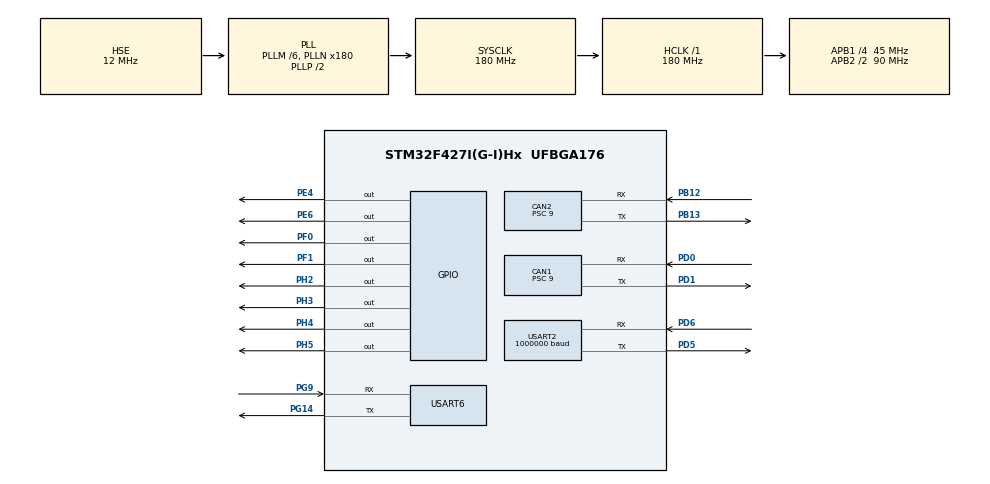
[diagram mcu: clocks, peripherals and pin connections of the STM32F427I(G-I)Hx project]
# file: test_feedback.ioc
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CAN1.ABOM=ENABLE
CAN1.BS1=CAN_BS1_2TQ
CAN1.BS2=CAN_BS2_2TQ
CAN1.CalculateBaudRate=1000000
CAN1.CalculateTimeBit=1000
CAN1.CalculateTimeQuantum=200.0
CAN1.Prescaler=9
CAN2.ABOM=ENABLE
CAN2.BS1=CAN_BS1_2TQ
CAN2.BS2=CAN_BS2_2TQ
CAN2.CalculateBaudRate=1000000
CAN2.CalculateTimeBit=1000
CAN2.CalculateTimeQuantum=200.0
CAN2.Prescaler=9
Dma.Request0=USART2_RX
Dma.Request1=USART2_TX
Dma.Request2=USART6_RX
Dma.Request3=USART6_TX
Dma.USART2_RX.0.Direction=DMA_PERIPH_TO_MEMORY
Dma.USART2_RX.0.FIFOMode=DMA_FIFOMODE_DISABLE
Dma.USART2_RX.0.Instance=DMA1_Stream5
Dma.USART2_RX.0.MemDataAlignment=DMA_MDATAALIGN_BYTE
Dma.USART2_RX.0.MemInc=DMA_MINC_ENABLE
Dma.USART2_RX.0.Mode=DMA_NORMAL
Dma.USART2_RX.0.PeriphDataAlignment=DMA_PDATAALIGN_BYTE
Dma.USART2_RX.0.PeriphInc=DMA_PINC_DISABLE
Dma.USART2_RX.0.Priority=DMA_PRIORITY_LOW
Dma.USART2_TX.1.Direction=DMA_MEMORY_TO_PERIPH
Dma.USART2_TX.1.FIFOMode=DMA_FIFOMODE_DISABLE
Dma.USART2_TX.1.Instance=DMA1_Stream6
Dma.USART2_TX.1.MemDataAlignment=DMA_MDATAALIGN_BYTE
Dma.USART2_TX.1.MemInc=DMA_MINC_ENABLE
Dma.USART2_TX.1.Mode=DMA_NORMAL
Dma.USART2_TX.1.PeriphDataAlignment=DMA_PDATAALIGN_BYTE
Dma.USART2_TX.1.PeriphInc=DMA_PINC_DISABLE
Dma.USART2_TX.1.Priority=DMA_PRIORITY_LOW
Dma.USART6_RX.2.Direction=DMA_PERIPH_TO_MEMORY
Dma.USART6_RX.2.FIFOMode=DMA_FIFOMODE_DISABLE
Dma.USART6_RX.2.Instance=DMA2_Stream1
Dma.USART6_RX.2.MemDataAlignment=DMA_MDATAALIGN_BYTE
Dma.USART6_RX.2.MemInc=DMA_MINC_ENABLE
Dma.USART6_RX.2.Mode=DMA_NORMAL
Dma.USART6_RX.2.PeriphDataAlignment=DMA_PDATAALIGN_BYTE
Dma.USART6_RX.2.PeriphInc=DMA_PINC_DISABLE
Dma.USART6_RX.2.Priority=DMA_PRIORITY_LOW
Dma.USART6_TX.3.Direction=DMA_MEMORY_TO_PERIPH
Dma.USART6_TX.3.FIFOMode=DMA_FIFOMODE_DISABLE
Dma.USART6_TX.3.Instance=DMA2_Stream6
Dma.USART6_TX.3.MemDataAlignment=DMA_MDATAALIGN_BYTE
Dma.USART6_TX.3.MemInc=DMA_MINC_ENABLE
Dma.USART6_TX.3.Mode=DMA_NORMAL
Dma.USART6_TX.3.PeriphDataAlignment=DMA_PDATAALIGN_BYTE
Dma.USART6_TX.3.PeriphInc=DMA_PINC_DISABLE
Dma.USART6_TX.3.Priority=DMA_PRIORITY_LOW
FREERTOS.BinarySemaphores01=uartSemaphore,Dynamic,NULL,Depleted
FREERTOS.Tasks01=ChassisTask,24,512,StartTaskChassis,Default,NULL,Dynamic,NULL,NULL;MAVLinkTask,24,512,StartTaskMAVLink,Default,NULL,Dynamic,NULL,NULL;ClimbingTask,24,512,StartTaskClimbing,Default,NULL,Dynamic,NULL,NULL;DrawKFSTask,24,512,StartTaskDrawKFS,Default,NULL,Dynamic,NULL,NULL;ClampingTask,24,128,StartTaskClamping,Default,NULL,Dynamic,NULL,NULL
Mcu.Family=STM32F4
Mcu.Name=STM32F427I(G-I)Hx
Mcu.Package=UFBGA176
NVIC.CAN1_RX0_IRQn=true\:5\:0\:false\:false\:true\:true\:true\:true\:true
NVIC.CAN1_RX1_IRQn=true\:5\:0\:false\:false\:true\:true\:true\:true\:true
NVIC.CAN2_RX0_IRQn=true\:5\:0\:false\:false\:true\:true\:true\:true\:true
NVIC.CAN2_RX1_IRQn=true\:5\:0\:false\:false\:true\:true\:true\:true\:true
NVIC.DMA1_Stream5_IRQn=true\:5\:0\:false\:false\:true\:true\:false\:true\:true
NVIC.DMA1_Stream6_IRQn=true\:5\:0\:false\:false\:true\:true\:false\:true\:true
NVIC.DMA2_Stream1_IRQn=true\:5\:0\:false\:false\:true\:true\:false\:true\:true
NVIC.DMA2_Stream6_IRQn=true\:5\:0\:false\:false\:true\:true\:false\:true\:true
NVIC.PriorityGroup=NVIC_PRIORITYGROUP_4
NVIC.TIM6_DAC_IRQn=true\:5\:0\:false\:false\:true\:true\:true\:true\:true
NVIC.TIM8_TRG_COM_TIM14_IRQn=true\:15\:0\:false\:false\:true\:false\:false\:true\:true
NVIC.TimeBase=TIM8_TRG_COM_TIM14_IRQn
NVIC.TimeBaseIP=TIM14
NVIC.USART2_IRQn=true\:5\:0\:false\:false\:true\:true\:true\:true\:true
NVIC.USART6_IRQn=true\:5\:0\:false\:false\:true\:true\:true\:true\:true
PA13.Mode=Serial_Wire
PA13.Signal=SYS_JTMS-SWDIO
PA14.Mode=Serial_Wire
PA14.Signal=SYS_JTCK-SWCLK
PB12.Mode=CAN_Activate
PB12.Signal=CAN2_RX
PB13.Mode=CAN_Activate
PB13.Signal=CAN2_TX
PD0.Mode=CAN_Activate
PD0.Signal=CAN1_RX
PD1.Mode=CAN_Activate
PD1.Signal=CAN1_TX
PD5.Mode=Asynchronous
PD5.Signal=USART2_TX
PD6.Mode=Asynchronous
PD6.Signal=USART2_RX
PE4.Signal=GPIO_Output
PE6.Signal=GPIO_Output
PF0.Signal=GPIO_Output
PF1.PinState=GPIO_PIN_SET
PF1.Signal=GPIO_Output
PG14.Mode=Asynchronous
PG14.Signal=USART6_TX
PG9.Mode=Asynchronous
PG9.Signal=USART6_RX
PH0/OSC_IN.Mode=HSE-External-Oscillator
PH0/OSC_IN.Signal=RCC_OSC_IN
PH1/OSC_OUT.Mode=HSE-External-Oscillator
PH1/OSC_OUT.Signal=RCC_OSC_OUT
PH2.GPIO_PuPd=GPIO_PULLDOWN
PH2.Signal=GPIO_Output
PH3.GPIO_PuPd=GPIO_PULLDOWN
PH3.Signal=GPIO_Output
PH4.GPIO_PuPd=GPIO_PULLDOWN
PH4.Signal=GPIO_Output
PH5.GPIO_PuPd=GPIO_PULLDOWN
PH5.Signal=GPIO_Output
ProjectManager.HeapSize=0x200
ProjectManager.StackSize=0x400
ProjectManager.TargetToolchain=CMake
RCC.48MHZClocksFreq_Value=90000000
RCC.AHBFreq_Value=180000000
RCC.APB1CLKDivider=RCC_HCLK_DIV4
RCC.APB1Freq_Value=45000000
RCC.APB1TimFreq_Value=90000000
RCC.APB2CLKDivider=RCC_HCLK_DIV2
RCC.APB2Freq_Value=90000000
RCC.APB2TimFreq_Value=180000000
RCC.CortexFreq_Value=180000000
RCC.HCLKFreq_Value=180000000
RCC.HSE_VALUE=12000000
RCC.HSI_VALUE=16000000
RCC.LSE_VALUE=32768
RCC.PLLM=6
RCC.PLLN=180
RCC.PLLSourceVirtual=RCC_PLLSOURCE_HSE
RCC.SYSCLKFreq_VALUE=180000000
RCC.SYSCLKSource=RCC_SYSCLKSOURCE_PLLCLK
RCC.VCOOutputFreq_Value=360000000
TIM6.Period=1000-1
TIM6.Prescaler=90-1
USART2.BaudRate=1000000
USART2.VirtualMode=VM_ASYNC
USART6.VirtualMode=VM_ASYNC
VP_FREERTOS_VS_CMSIS_V2.Mode=CMSIS_V2
VP_SYS_VS_tim14.Mode=TIM14
VP_TIM6_VS_ClockSourceINT.Mode=Enable_Timer
board=custom

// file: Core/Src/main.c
/* USER CODE BEGIN Header */
/**
 ******************************************************************************
 * @file           : main.c
 * @brief          : Main program body
 ******************************************************************************
 * @attention
 *
 * Copyright (c) 2023 STMicroelectronics.
 * All rights reserved.
 *
 * This software is licensed under terms that can be found in the LICENSE file
 * in the root directory of this software component.
 * If no LICENSE file comes with this software, it is provided AS-IS.
 *
 ******************************************************************************
 */
/* USER CODE END Header */
#include "main.h"
#include "cmsis_os.h"
#include "can.h"
#include "dma.h"
#include "tim.h"
#include "usart.h"
#include "gpio.h"

/* USER CODE BEGIN Includes */
/* If this file is compiled as C++, ensure C linkage for CubeMX/FreeRTOS
  functions and callbacks implemented in C source files. Put C++ headers
  after the extern "C" block. */
#ifdef __cplusplus
extern "C" {
#endif

#include "FreeRTOS.h"

/* Declarations for functions implemented in C sources (freertos.c, drv code)
  that are called from this translation unit. Placing them here inside the
  USER CODE block prevents CubeMX from overwriting them. */
void MX_FREERTOS_Init(void);

#ifdef __cplusplus
}
#endif

/* C++ headers (classes, templates, etc.) */
#include "drv_bsp.h"
#include "drv_tim.h"
#include "dvc_serialplot.h"
#include "dvc_motor.h"
#include "dvc_motor_dm.h"

/* USER CODE END Includes */

/* USER CODE BEGIN PV */

extern TIM_HandleTypeDef htim14;

bool init_finished = false;

/* USER CODE END PV */

void SystemClock_Config(void);
void MX_FREERTOS_Init(void);
/* USER CODE BEGIN PFP */

void TIM14_Callback(void);

/* USER CODE END PFP */

int main(void)
{

  /* MCU Configuration--------------------------------------------------------*/

  /* Reset of all peripherals, Initializes the Flash interface and the Systick. */
  HAL_Init();

  /* Configure the system clock */
  SystemClock_Config();

  /* Initialize all configured peripherals */
  MX_GPIO_Init();
  MX_DMA_Init();
  MX_CAN1_Init();
  MX_USART2_UART_Init();
  MX_USART6_UART_Init();
  MX_CAN2_Init();
  MX_TIM6_Init();
  /* USER CODE BEGIN 2 */

  // 注册TIM14的回调函数用于系统时基
  TIM_Init(&htim14, TIM14_Callback);

  // 初始化完成，允许定时器中断回调执行
  init_finished = true;

  /* USER CODE END 2 */

  /* Init scheduler */
  osKernelInitialize();  /* Call init function for freertos objects (in cmsis_os2.c) */
  MX_FREERTOS_Init();

  /* Start scheduler */
  osKernelStart();

  /* We should never get here as control is now taken by the scheduler */

  /* Infinite loop */
  while (1)
  {

    }
}

void SystemClock_Config(void)
{
  RCC_OscInitTypeDef RCC_OscInitStruct = {0};
  RCC_ClkInitTypeDef RCC_ClkInitStruct = {0};

  /** Configure the main internal regulator output voltage
  */
  __HAL_RCC_PWR_CLK_ENABLE();
  __HAL_PWR_VOLTAGESCALING_CONFIG(PWR_REGULATOR_VOLTAGE_SCALE1);

  /** Initializes the RCC Oscillators according to the specified parameters
  * in the RCC_OscInitTypeDef structure.
  */
  RCC_OscInitStruct.OscillatorType = RCC_OSCILLATORTYPE_HSE;
  RCC_OscInitStruct.HSEState = RCC_HSE_ON;
  RCC_OscInitStruct.PLL.PLLState = RCC_PLL_ON;
  RCC_OscInitStruct.PLL.PLLSource = RCC_PLLSOURCE_HSE;
  RCC_OscInitStruct.PLL.PLLM = 6;
  RCC_OscInitStruct.PLL.PLLN = 180;
  RCC_OscInitStruct.PLL.PLLP = RCC_PLLP_DIV2;
  RCC_OscInitStruct.PLL.PLLQ = 4;
  if (HAL_RCC_OscConfig(&RCC_OscInitStruct) != HAL_OK)
  {
    Error_Handler();
  }

  /** Activate the Over-Drive mode
  */
  if (HAL_PWREx_EnableOverDrive() != HAL_OK)
  {
    Error_Handler();
  }

  /** Initializes the CPU, AHB and APB buses clocks
  */
  RCC_ClkInitStruct.ClockType = RCC_CLOCKTYPE_HCLK|RCC_CLOCKTYPE_SYSCLK
                              |RCC_CLOCKTYPE_PCLK1|RCC_CLOCKTYPE_PCLK2;
  RCC_ClkInitStruct.SYSCLKSource = RCC_SYSCLKSOURCE_PLLCLK;
  RCC_ClkInitStruct.AHBCLKDivider = RCC_SYSCLK_DIV1;
  RCC_ClkInitStruct.APB1CLKDivider = RCC_HCLK_DIV4;
  RCC_ClkInitStruct.APB2CLKDivider = RCC_HCLK_DIV2;

  if (HAL_RCC_ClockConfig(&RCC_ClkInitStruct, FLASH_LATENCY_5) != HAL_OK)
  {
    Error_Handler();
  }
}

/* USER CODE BEGIN 4 */

/**
 * @brief TIM14系统时基回调函数 (用于BSP库的TIM中断处理)
 */
void TIM14_Callback(void)
{
  HAL_IncTick();
}

/* USER CODE END 4 */

void Error_Handler(void)
{
    __disable_irq();
    while (1)
    {
    }
}

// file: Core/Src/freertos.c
/* USER CODE BEGIN Header */
/**
  ******************************************************************************
  * File Name          : freertos.c
  * Description        : Code for freertos applications
  ******************************************************************************
  * @attention
  *
  * Copyright (c) 2025 STMicroelectronics.
  * All rights reserved.
  *
  * This software is licensed under terms that can be found in the LICENSE file
  * in the root directory of this software component.
  * If no LICENSE file comes with this software, it is provided AS-IS.
  *
  ******************************************************************************
  */
/* USER CODE END Header */

#include "FreeRTOS.h"
#include "task.h"
#include "main.h"
#include "cmsis_os.h"

/* USER CODE BEGIN Includes */
#include "tsk_config_and_callback.h"
#include "ChassisTask.h"
#include "ClimbingTask2.h"
#include "DrawKFS_Task.h"
#include "ClampingTask.h"
#include "Uart_Task.h"

/* USER CODE END Includes */

/* Definitions for ChassisTask */
osThreadId_t ChassisTaskHandle;
const osThreadAttr_t ChassisTask_attributes = {
  .name = "ChassisTask",
  .stack_size = 512 * 4,
  .priority = (osPriority_t) osPriorityNormal,
};
/* Definitions for MAVLinkTask */
osThreadId_t MAVLinkTaskHandle;
const osThreadAttr_t MAVLinkTask_attributes = {
  .name = "MAVLinkTask",
  .stack_size = 512 * 4,
  .priority = (osPriority_t) osPriorityNormal,
};
/* Definitions for ClimbingTask */
osThreadId_t ClimbingTaskHandle;
const osThreadAttr_t ClimbingTask_attributes = {
  .name = "ClimbingTask",
  .stack_size = 512 * 4,
  .priority = (osPriority_t) osPriorityNormal,
};
/* Definitions for DrawKFSTask */
osThreadId_t DrawKFSTaskHandle;
const osThreadAttr_t DrawKFSTask_attributes = {
  .name = "DrawKFSTask",
  .stack_size = 512 * 4,
  .priority = (osPriority_t) osPriorityNormal,
};
/* Definitions for ClampingTask */
osThreadId_t ClampingTaskHandle;
const osThreadAttr_t ClampingTask_attributes = {
  .name = "ClampingTask",
  .stack_size = 128 * 4,
  .priority = (osPriority_t) osPriorityNormal,
};
/* Definitions for uartSemaphore */
osSemaphoreId_t uartSemaphoreHandle;
const osSemaphoreAttr_t uartSemaphore_attributes = {
  .name = "uartSemaphore"
};

void StartTaskChassis(void *argument);
void StartTaskMAVLink(void *argument);
void StartTaskClimbing(void *argument);
void StartTaskDrawKFS(void *argument);
void StartTaskClamping(void *argument);

void MX_FREERTOS_Init(void); /* (MISRA C 2004 rule 8.1) */

void MX_FREERTOS_Init(void) {
  /* USER CODE BEGIN Init */

  // 在FreeRTOS初始化函数中调用全局任务初始化函数
  Task_Init();

  /* USER CODE END Init */

  /* Create the semaphores(s) */
  /* creation of uartSemaphore */
  uartSemaphoreHandle = osSemaphoreNew(1, 0, &uartSemaphore_attributes);

  /* Create the thread(s) */
  /* creation of ChassisTask */
  ChassisTaskHandle = osThreadNew(StartTaskChassis, NULL, &ChassisTask_attributes);

  /* creation of MAVLinkTask */
  MAVLinkTaskHandle = osThreadNew(StartTaskMAVLink, NULL, &MAVLinkTask_attributes);

  /* creation of ClimbingTask */
  ClimbingTaskHandle = osThreadNew(StartTaskClimbing, NULL, &ClimbingTask_attributes);

  /* creation of DrawKFSTask */
  DrawKFSTaskHandle = osThreadNew(StartTaskDrawKFS, NULL, &DrawKFSTask_attributes);

  /* creation of ClampingTask */
  ClampingTaskHandle = osThreadNew(StartTaskClamping, NULL, &ClampingTask_attributes);

}

void StartTaskChassis(void *argument)
{
  /* USER CODE BEGIN StartTaskChassis */
  Chassis_Task(argument);
  /* Infinite loop */
  for(;;)
  {
    osDelay(1);
  }
  /* USER CODE END StartTaskChassis */
}

void StartTaskMAVLink(void *argument)
{
  /* USER CODE BEGIN StartTaskMAVLink */
  UartTask();
  /* Infinite loop */
  for(;;)
  {
    osDelay(1);
  }
  /* USER CODE END StartTaskMAVLink */
}

void StartTaskClimbing(void *argument)
{
  /* USER CODE BEGIN StartTaskClimbing */
  ClimbingTask();
  /* Infinite loop */
  for(;;)
  {
    osDelay(1);
  }
  /* USER CODE END StartTaskClimbing */
}

void StartTaskDrawKFS(void *argument)
{
  /* USER CODE BEGIN StartTaskDrawKFS */
  DrawKFS_Task();
  /* Infinite loop */
  for(;;)
  {
    osDelay(1);
  }
  /* USER CODE END StartTaskDrawKFS */
}

void StartTaskClamping(void *argument)
{
  /* USER CODE BEGIN StartTaskClamping */
  ClampingTask();
  /* Infinite loop */
  for(;;)
  {
    osDelay(1);
  }
  /* USER CODE END StartTaskClamping */
}
